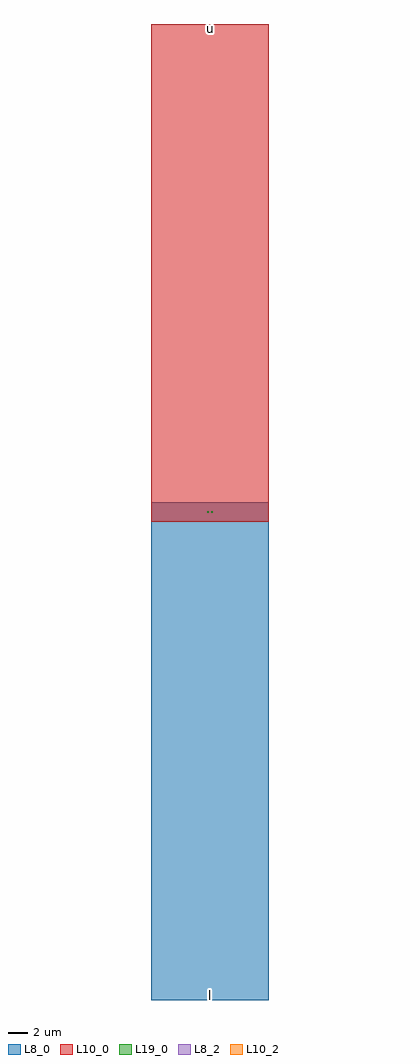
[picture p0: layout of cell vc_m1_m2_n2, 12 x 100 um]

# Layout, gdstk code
import gdstk
lib = gdstk.Library(unit=1e-6, precision=1e-09)
def R(c, l, rs):  # rectangles x0, y0, x1, y1
    for r in rs: c.add(gdstk.rectangle(r[:2], r[2:], *l))
L8_0 = (8, 0)
L8_2 = (8, 2)
L10_0 = (10, 0)
L10_2 = (10, 2)
L19_0 = (19, 0)

vc_m1_m2_n2 = lib.new_cell('vc_m1_m2_n2')
R(vc_m1_m2_n2, L8_0, [(0,0,12,51)])
R(vc_m1_m2_n2, L8_2, [(5.9,0.4,6.1,0.6)])
R(vc_m1_m2_n2, L10_0, [(0,49,12,100)])
R(vc_m1_m2_n2, L10_2, [(5.9,99.4,6.1,99.6)])
R(vc_m1_m2_n2, L19_0, [(5.7,49.905,5.89,50.095), (6.11,49.905,6.3,50.095)])
vc_m1_m2_n2.add(gdstk.Label('l', (6,0.5), layer=8, texttype=2))
vc_m1_m2_n2.add(gdstk.Label('u', (6,99.5), layer=10, texttype=2))

lib.write_gds('vc_m1_m2_n2.gds')
